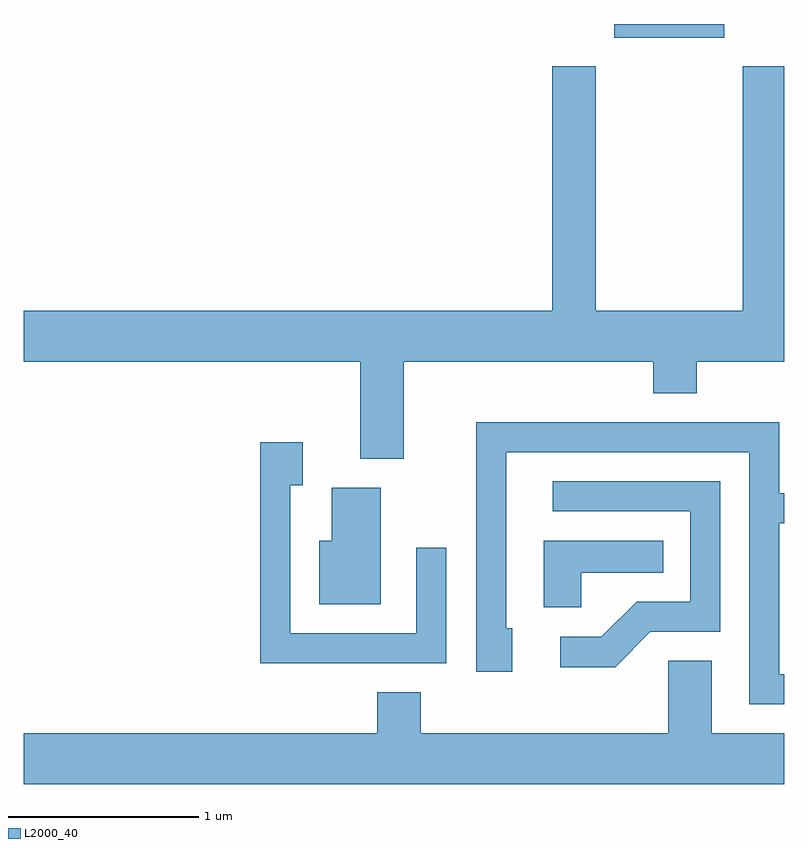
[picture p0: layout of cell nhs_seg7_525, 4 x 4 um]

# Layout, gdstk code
import gdstk
lib = gdstk.Library(unit=1e-6, precision=1e-09)
def R(c, l, rs):  # rectangles x0, y0, x1, y1
    for r in rs: c.add(gdstk.rectangle(r[:2], r[2:], *l))
def P(c, l, *ps):  # polygons
    for p in ps: c.add(gdstk.Polygon(p, *l))
L2000_40 = (2000, 40)

nhs_seg7_525 = lib.new_cell('nhs_seg7_525')
R(nhs_seg7_525, L2000_40, [(202.716,1778.181,203.294,1778.252)])
P(nhs_seg7_525, L2000_40, [(201.609,1776.476),(202.921,1776.476),(202.921,1776.311),(203.149,1776.311),(203.149,1776.476),(203.611,1776.476),(203.611,1778.029),(203.391,1778.029),(203.391,1776.744),(202.619,1776.744),(202.619,1778.029),(202.391,1778.029),(202.391,1776.744),(199.611,1776.744),(199.611,1776.476),(201.381,1776.476),(201.381,1775.966),(201.609,1775.966)],
  [(203.611,1774.834),(203.584,1774.834),(203.584,1775.626),(203.611,1775.626),(203.611,1775.784),(203.584,1775.784),(203.584,1776.159),(201.991,1776.159),(201.991,1774.846),(202.179,1774.846),(202.179,1775.074),(202.149,1775.074),(202.149,1776.001),(203.426,1776.001),(203.426,1774.676),(203.611,1774.676)],
  [(201.834,1775.498),(201.676,1775.498),(201.676,1775.049),(201.014,1775.049),(201.014,1775.826),(201.079,1775.826),(201.079,1776.054),(200.856,1776.054),(200.856,1774.891),(201.834,1774.891)],
  [(202.907,1775.056),(203.274,1775.056),(203.274,1775.849),(202.393,1775.849),(202.393,1775.691),(203.116,1775.691),(203.116,1775.214),(202.834,1775.214),(202.649,1775.029),(202.433,1775.029),(202.433,1774.871),(202.722,1774.871)],
  [(201.489,1775.814),(201.231,1775.814),(201.231,1775.534),(201.166,1775.534),(201.166,1775.201),(201.489,1775.201)],
  [(202.544,1775.366),(202.973,1775.366),(202.973,1775.534),(202.346,1775.534),(202.346,1775.186),(202.544,1775.186)],
  [(203.611,1774.524),(203.229,1774.524),(203.229,1774.904),(203.001,1774.904),(203.001,1774.524),(201.699,1774.524),(201.699,1774.739),(201.471,1774.739),(201.471,1774.524),(199.611,1774.524),(199.611,1774.256),(203.611,1774.256)])

lib.write_gds('nhs_seg7_525.gds')
